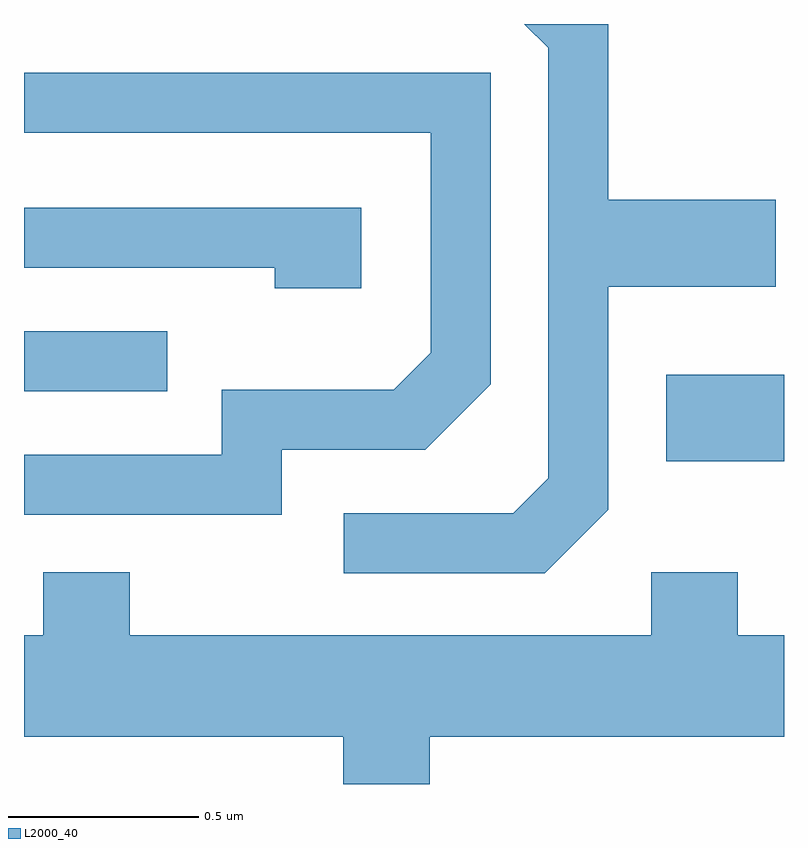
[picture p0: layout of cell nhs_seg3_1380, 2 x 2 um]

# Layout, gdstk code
import gdstk
lib = gdstk.Library(unit=1e-6, precision=1e-09)
def R(c, l, rs):  # rectangles x0, y0, x1, y1
    for r in rs: c.add(gdstk.rectangle(r[:2], r[2:], *l))
def P(c, l, *ps):  # polygons
    for p in ps: c.add(gdstk.Polygon(p, *l))
L2000_40 = (2000, 40)

nhs_seg3_1380 = lib.new_cell('nhs_seg3_1380')
R(nhs_seg3_1380, L2000_40, [(197.301,1126.741,197.611,1126.969), (195.611,1126.926,195.988,1127.084)])
P(nhs_seg3_1380, L2000_40, [(197.149,1126.614),(197.149,1127.201),(197.589,1127.201),(197.589,1127.429),(197.149,1127.429),(197.149,1127.892),(196.928,1127.892),(196.991,1127.829),(196.991,1126.697),(196.899,1126.604),(196.453,1126.604),(196.453,1126.446),(196.982,1126.446)],
  [(196.289,1126.771),(196.667,1126.771),(196.839,1126.944),(196.839,1127.764),(195.611,1127.764),(195.611,1127.606),(196.681,1127.606),(196.681,1127.027),(196.584,1126.929),(196.131,1126.929),(196.131,1126.759),(195.611,1126.759),(195.611,1126.601),(196.289,1126.601)],
  [(196.499,1127.409),(195.611,1127.409),(195.611,1127.251),(196.271,1127.251),(196.271,1127.196),(196.499,1127.196)],
  [(196.679,1126.016),(197.611,1126.016),(197.611,1126.284),(197.489,1126.284),(197.489,1126.449),(197.261,1126.449),(197.261,1126.284),(195.889,1126.284),(195.889,1126.449),(195.661,1126.449),(195.661,1126.284),(195.611,1126.284),(195.611,1126.016),(196.451,1126.016),(196.451,1125.892),(196.679,1125.892)])

lib.write_gds('nhs_seg3_1380.gds')
